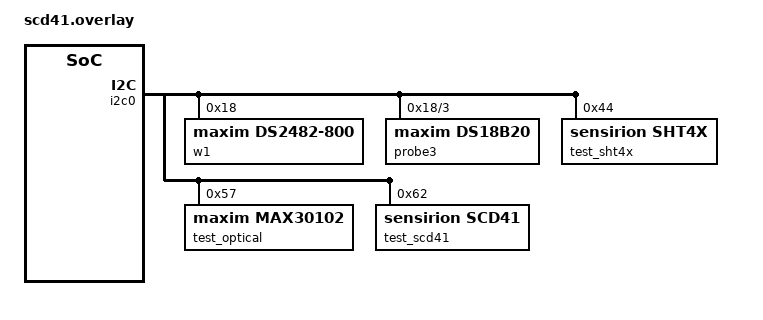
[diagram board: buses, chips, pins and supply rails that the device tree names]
/* Build-only sensor-bearing profile. Standard board images do not declare it. */
/ {
    aliases {
        zt-scd4x = &test_scd41;
        zt-shtxx = &test_sht4x;
        zt-environment-2 = &test_sht4x;
        zt-optical = &test_optical;
        zt-environment = &test_scd41;
        air-quality = &test_scd41;
        zt-one-wire-3 = &probe3;
        zt-one-wire-5 = &absent_probe;
        air-quality-3 = &absent_co2;
        health-sensor = &absent_co2;
        body-temperature = &absent_probe;
    };
};
&i2c0 {
    status = "okay";
    w1@18 {
        compatible = "maxim,ds2482-800";
        reg = <0x18>;
        #address-cells = <1>;
        #size-cells = <0>;
        channel@3 {
            compatible = "maxim,ds2482-800-channel";
            reg = <3>;
            absent_probe: disabled-thermometer {
                compatible = "maxim,ds18b20";
                family-code = <0x28>;
                resolution = <12>;
                status = "disabled";
            };
            probe3: thermometer {
                compatible = "maxim,ds18b20";
                family-code = <0x28>;
                resolution = <12>;
            };
        };
    };
    test_sht4x: humidity@44 {
        compatible = "sensirion,sht4x";
        reg = <0x44>;
        repeatability = <2>;
    };
    test_optical: optical@57 {
        compatible = "maxim,max30102";
        reg = <0x57>;
        acq-mode = "spo2";
        smp-ave = <4>;
        smp-sr = <100>;
        led-pw = <411>;
        adc-rge = <4096>;
        led-pa = [3c 3c];
    };
    absent_co2: co2@61 {
        compatible = "sensirion,scd41";
        reg = <0x61>;
        mode = <0>;
        status = "disabled";
    };
    test_scd41: co2@62 {
        compatible = "sensirion,scd41";
        reg = <0x62>;
        mode = <0>;
    };
};
